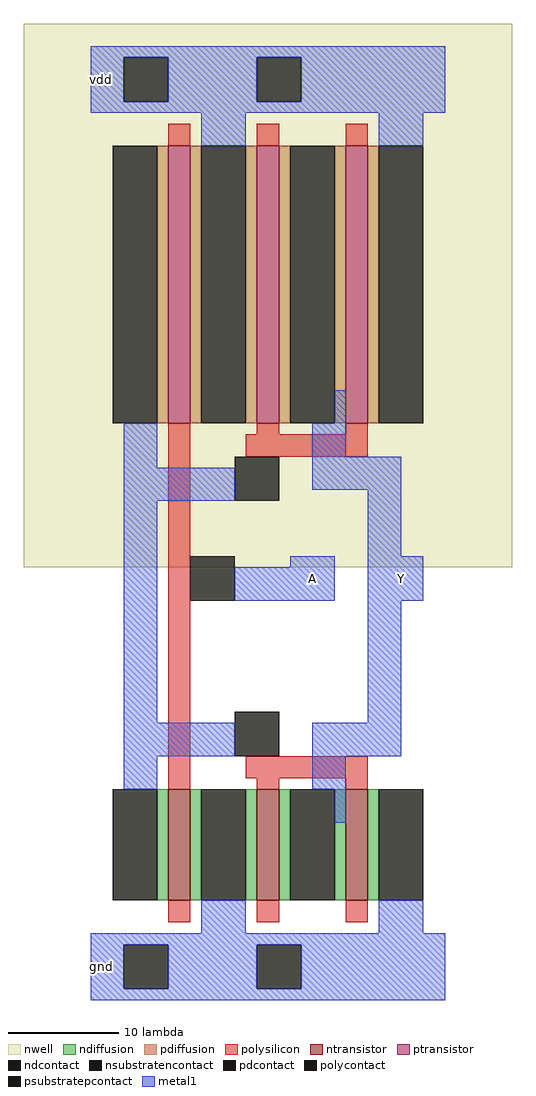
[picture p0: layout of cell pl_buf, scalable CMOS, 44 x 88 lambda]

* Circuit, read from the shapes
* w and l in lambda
.subckt pl_buf A Y vdd gnd
M1 gnd A n1 gnd nfet w=10 l=2
M2 Y n1 gnd gnd nfet w=10 l=2 m=2
M3 vdd A n1 vdd pfet w=25 l=2
M4 Y n1 vdd vdd pfet w=25 l=2 m=2
.ends

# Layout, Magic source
magic
tech scmos
<< nwell >>
rect -6 36 38 85
<< ndiffusion >>
rect 6 6 7 16
rect 9 6 10 16
rect 14 6 15 16
rect 17 6 18 16
rect 22 6 23 16
rect 25 6 26 16
<< pdiffusion >>
rect 6 49 7 74
rect 9 49 10 74
rect 14 49 15 74
rect 17 49 18 74
rect 22 49 23 74
rect 25 49 26 74
<< polysilicon >>
rect 7 4 9 6
rect 15 4 17 6
rect 23 4 25 6
rect 7 16 9 49
rect 15 16 17 17
rect 23 16 25 17
rect 14 17 25 19
rect 14 46 25 48
rect 15 48 17 49
rect 23 48 25 49
rect 7 74 9 76
rect 15 74 17 76
rect 23 74 25 76
<< ntransistor >>
rect 7 6 9 16
rect 15 6 17 16
rect 23 6 25 16
<< ptransistor >>
rect 7 49 9 74
rect 15 49 17 74
rect 23 49 25 74
<< ndcontact >>
rect 2 6 6 16
rect 10 6 14 16
rect 18 6 22 16
rect 26 6 30 16
<< pdcontact >>
rect 2 49 6 74
rect 10 49 14 74
rect 18 49 22 74
rect 26 49 30 74
<< polycontact >>
rect 13 19 17 23
rect 9 33 13 37
rect 13 42 17 46
<< psubstratepcontact >>
rect 3 -2 7 2
rect 15 -2 19 2
<< nsubstratencontact >>
rect 3 78 7 82
rect 15 78 19 82
<< metal1 >>
rect 0 -3 32 -2
rect 0 -2 3 2
rect 7 -2 15 2
rect 19 -2 32 2
rect 0 2 32 3
rect 10 3 14 6
rect 26 3 30 6
rect 22 13 23 16
rect 3 16 6 19
rect 20 16 23 19
rect 3 19 13 22
rect 20 19 28 22
rect 3 22 6 42
rect 25 22 28 33
rect 13 33 22 36
rect 25 33 30 37
rect 18 36 22 37
rect 25 37 28 43
rect 3 42 13 45
rect 20 43 28 46
rect 3 45 6 49
rect 20 46 23 49
rect 22 49 23 52
rect 10 74 14 77
rect 26 74 30 77
rect 0 77 32 78
rect 0 78 3 82
rect 7 78 15 82
rect 19 78 32 82
rect 0 82 32 83
<< labels >>
rlabel metal1 s 18 33 22 37 0 A
port 1 nsew signal input
rlabel metal1 s 26 33 30 37 0 Y
port 2 nsew signal output
rlabel metal1 s 0 77 2 83 0 vdd
port 3 nsew power bidirectional
rlabel metal1 s 0 -3 2 3 0 gnd
port 4 nsew ground bidirectional
<< properties >>
string FIXED_BBOX 0 0 32 80
<< end >>
